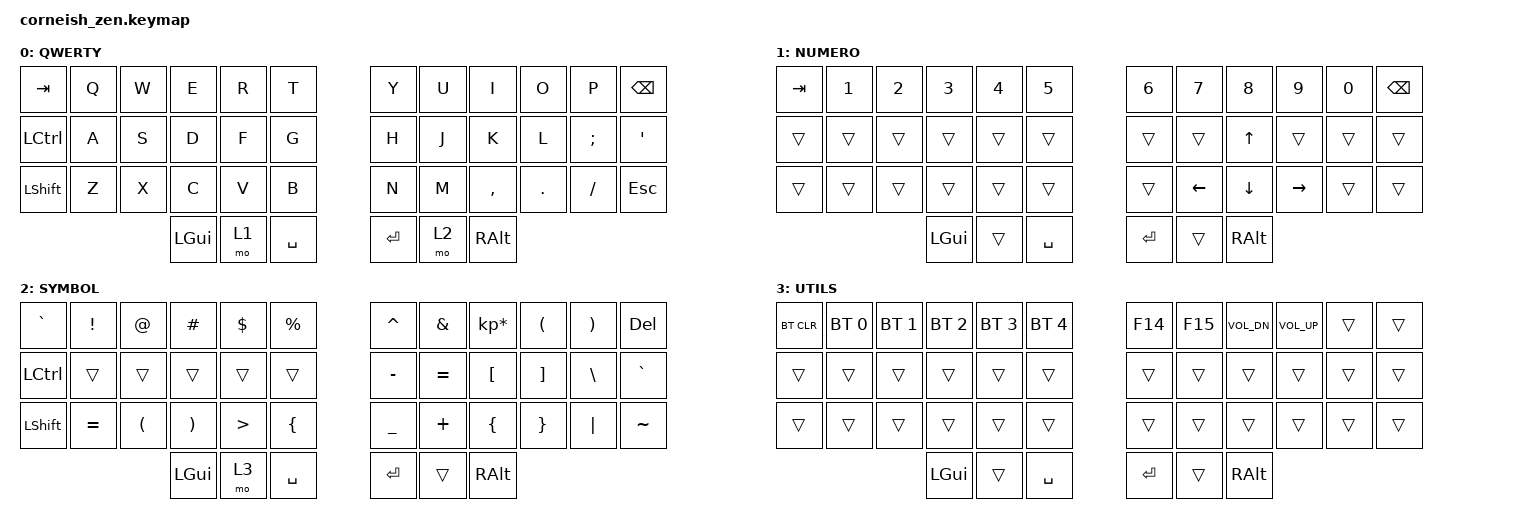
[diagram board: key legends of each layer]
#include <behaviors.dtsi>
#include <dt-bindings/zmk/keys.h>
#include <dt-bindings/zmk/bt.h>

/ {
  chosen {
    zmk,matrix_transform = &default_transform;
    //zmk,matrix_transform = &five_column_transform;
  };
};

/ {
        keymap {
                compatible = "zmk,keymap";

                default_layer {
                        label = "QWERTY";
// -----------------------------------------------------------------------------------------
// |  TAB |  Q  |  W  |  E  |  R  |  T  |   |  Y  |  U   |  I  |  O  |  P  | BKSP |
// | CTRL |  A  |  S  |  D  |  F  |  G  |   |  H  |  J   |  K  |  L  |  ;  |  '   |
// | SHFT |  Z  |  X  |  C  |  V  |  B  |   |  N  |  M   |  ,  |  .  |  /  | ESC  |
//                    | GUI | LWR | SPC |   | ENT | RSE  | ALT |
                        bindings = <
   &kp TAB   &kp Q &kp W &kp E &kp R &kp T   &kp Y &kp U  &kp I     &kp O   &kp P    &kp BSPC
   &kp LCTRL &kp A &kp S &kp D &kp F &kp G   &kp H &kp J  &kp K     &kp L   &kp SEMI &kp SQT
   &kp LSHFT &kp Z &kp X &kp C &kp V &kp B   &kp N &kp M  &kp COMMA &kp DOT &kp FSLH &kp ESC
                  &kp LGUI &mo 1 &kp SPACE   &kp RET &mo 2 &kp RALT
                        >;
                };
                lower_layer {
                        label = "NUMERO";
// -----------------------------------------------------------------------------------------
// |  TAB |  1  |  2  |  3  |  4  |  5  |   |  6  |  7  |  8  |  9  |  0  | BKSP |
// |      |     |     |     |     |     |   |     |     |  UP |     |     |      |
// |      |     |     |     |     |     |   |     | LFT | DWN | RGT |     |      |
//                    | GUI |     | SPC |   | ENT |     | ALT |
                        bindings = <
   &kp TAB    &kp N1       &kp N2       &kp N3       &kp N4     &kp N5         &kp N6   &kp N7   &kp N8   &kp N9    &kp N0 &kp BSPC
   &trans     &trans       &trans       &trans       &trans     &trans         &trans   &trans   &kp UP   &trans    &trans &trans
   &trans     &trans       &trans       &trans       &trans     &trans         &trans   &kp LEFT &kp DOWN &kp RIGHT &trans &trans
                          	        &kp LGUI     &trans     &kp SPACE      &kp RET  &trans   &kp RALT
                        >;
                };

                raise_layer {
                        label = "SYMBOL";
// -----------------------------------------------------------------------------------------
// |   `  |  !  |  @  |  #  |  $  |  %  |   |  ^  |  &  |  *  |  (  |  )  | DEL |
// | CTRL |     |     |     |     |     |   |  -  |  =  |  [  |  ]  |  \  |  `  |
// | SHFT |  =  |  (  |  )  |  >  |  {  |   |  _  |  +  |  {  |  }  | "|" |  ~  |
//                    | GUI |     | SPC |   | ENT |     | ALT |
                        bindings = <
   &kp GRAVE  &kp EXCL   &kp AT   &kp HASH &kp DLLR         &kp PRCNT    &kp CARET &kp AMPS  &kp KP_MULTIPLY &kp LPAR &kp RPAR &kp DEL
   &kp LCTRL  &trans     &trans   &trans   &trans           &trans       &kp MINUS &kp EQUAL &kp LBKT        &kp RBKT &kp BSLH &kp GRAVE
   &kp LSHFT  &kp EQUAL  &kp LPAR &kp RPAR &kp GREATER_THAN &kp LBRC     &kp UNDER &kp PLUS  &kp LBRC        &kp RBRC &kp PIPE &kp TILDE
                    	          &kp LGUI &mo 3            &kp SPACE    &kp RET   &trans    &kp RALT
                        >;
                };

                top_layer {
                        label = "UTILS";
// -----------------------------------------------------------------------------------------
// | BTCLR | BT1 | BT2 | BT3 | BT4 | BT5 |   |Brt D|Brt U|Vol D|Vol U|     |     |
// |       |     |     |     |     |     |   |     |     |     |     |     |     |
// |       |     |     |     |     |     |   |     |     |     |     |     |     |
//                     | GUI |     | SPC |   | ENT |     | ALT |
                        bindings = <
   &bt BT_CLR &bt BT_SEL 0 &bt BT_SEL 1 &bt BT_SEL 2 &bt BT_SEL 3 &bt BT_SEL 4   &kp F14   &kp F15  &kp C_VOL_DN &kp C_VOL_UP &trans   &trans
   &trans     &trans       &trans       &trans       &trans       &trans         &trans    &trans   &trans       &trans       &trans   &trans
   &trans     &trans       &trans       &trans       &trans       &trans         &trans    &trans   &trans       &trans       &trans   &trans
                    	                &kp LGUI     &trans       &kp SPACE      &kp RET   &trans    &kp RALT
                        >;
                };
        };
};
